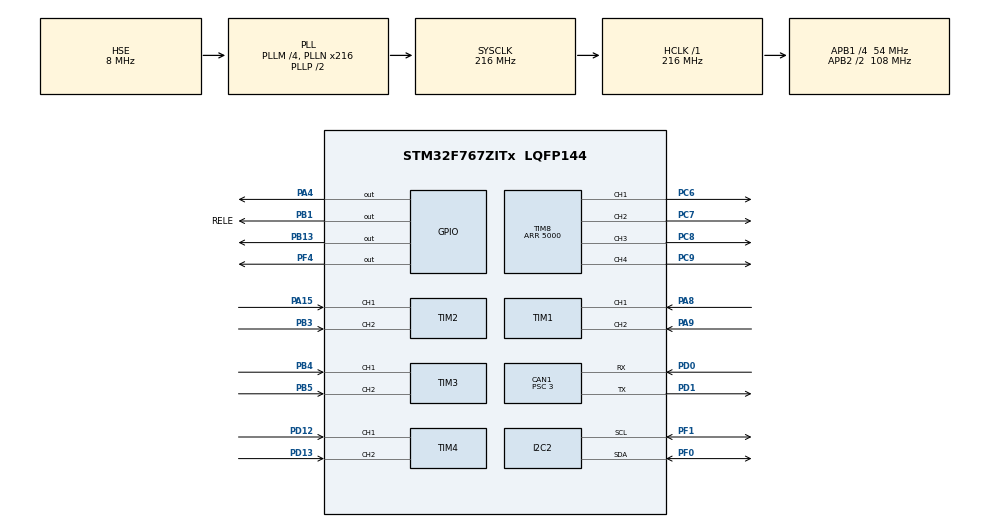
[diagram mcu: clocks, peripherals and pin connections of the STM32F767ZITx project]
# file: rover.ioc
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CAN1.AWUM=ENABLE
CAN1.BS1=CAN_BS1_15TQ
CAN1.BS2=CAN_BS2_2TQ
CAN1.CalculateBaudRate=1000000
CAN1.CalculateTimeBit=1000
CAN1.CalculateTimeQuantum=55.55555555555556
CAN1.NART=ENABLE
CAN1.Prescaler=3
FREERTOS.Tasks01=defaultTask,24,128,StartDefaultTask,Default,NULL,Dynamic,NULL,NULL;MotorControlTas,54,128,startMotorControl,Default,NULL,Static,encoderReadBuffer,encoderReadControlBlock;canTxTask,55,256,StartCanTxTask,Default,NULL,Static,canTxTaskBuffer,canTxTaskControlBlock;MPUCanTxTask,8,128,MPUCanTxFunc,Default,NULL,Static,MPUCanTxTaskBuffer,MPUCanTxTaskControlBlock
FREERTOS.configENABLE_FPU=1
FREERTOS.configUSE_NEWLIB_REENTRANT=1
I2C2.Timing=0x20404768
Mcu.Family=STM32F7
Mcu.Name=STM32F767ZITx
Mcu.Package=LQFP144
NVIC.CAN1_RX0_IRQn=true\:5\:0\:false\:false\:true\:true\:true\:true\:true
NVIC.PriorityGroup=NVIC_PRIORITYGROUP_4
NVIC.TIM8_BRK_TIM12_IRQn=true\:15\:0\:false\:false\:true\:false\:false\:true\:true
NVIC.TimeBase=TIM8_BRK_TIM12_IRQn
NVIC.TimeBaseIP=TIM12
PA15.Signal=S_TIM2_CH1_ETR
PA4.Signal=GPIO_Output
PA8.Signal=S_TIM1_CH1
PA9.Signal=S_TIM1_CH2
PB1.GPIO_Label=RELE
PB1.Signal=GPIO_Output
PB13.Signal=GPIO_Output
PB3.Signal=S_TIM2_CH2
PB4.Signal=S_TIM3_CH1
PB5.Signal=S_TIM3_CH2
PC6.Signal=S_TIM8_CH1
PC7.Signal=S_TIM8_CH2
PC8.Signal=S_TIM8_CH3
PC9.Signal=S_TIM8_CH4
PD0.Mode=CAN_Activate
PD0.Signal=CAN1_RX
PD1.Mode=CAN_Activate
PD1.Signal=CAN1_TX
PD12.Signal=S_TIM4_CH1
PD13.Signal=S_TIM4_CH2
PF0.Mode=I2C
PF0.Signal=I2C2_SDA
PF1.Mode=I2C
PF1.Signal=I2C2_SCL
PF4.Signal=GPIO_Output
PH0/OSC_IN.Mode=HSE-External-Oscillator
PH0/OSC_IN.Signal=RCC_OSC_IN
PH1/OSC_OUT.Mode=HSE-External-Oscillator
PH1/OSC_OUT.Signal=RCC_OSC_OUT
ProjectManager.HeapSize=0x200
ProjectManager.StackSize=0x400
ProjectManager.TargetToolchain=STM32CubeIDE
RCC.48MHZClocksFreq_Value=24000000
RCC.AHBFreq_Value=216000000
RCC.APB1CLKDivider=RCC_HCLK_DIV4
RCC.APB1Freq_Value=54000000
RCC.APB1TimFreq_Value=108000000
RCC.APB2CLKDivider=RCC_HCLK_DIV2
RCC.APB2Freq_Value=108000000
RCC.APB2TimFreq_Value=216000000
RCC.CodegenConfigPeriph=true
RCC.CortexFreq_Value=216000000
RCC.DATA_CACHE_ENABLE=1
RCC.EnbaleCSS=true
RCC.HCLKFreq_Value=216000000
RCC.HSE_VALUE=8000000
RCC.HSI_VALUE=16000000
RCC.INSTRUCTION_CACHE_ENABLE=1
RCC.LSE_Drive_CapabilityArg=+LSE_Drive_Capability
RCC.LSE_VALUE=32768
RCC.PLLM=4
RCC.PLLMUL=RCC_PLL_MUL9
RCC.PLLN=216
RCC.PLLQ=4
RCC.PLLSourceVirtual=RCC_PLLSOURCE_HSE
RCC.PREFETCH_ENABLE=1
RCC.PRESCALERUSB=RCC_USBCLKSOURCE_PLL_DIV1_5
RCC.SYSCLKFreq_VALUE=216000000
RCC.SYSCLKSource=RCC_SYSCLKSOURCE_PLLCLK
RCC.SYSCLKSourceVirtual=RCC_SYSCLKSOURCE_PLLCLK
RCC.USBFreq_Value=108000000
RCC.VCOOutputFreq_Value=432000000
SH.S_TIM1_CH1.0=TIM1_CH1,Encoder_Interface
SH.S_TIM1_CH2.0=TIM1_CH2,Encoder_Interface
SH.S_TIM2_CH1_ETR.0=TIM2_CH1,Encoder_Interface
SH.S_TIM2_CH2.0=TIM2_CH2,Encoder_Interface
SH.S_TIM3_CH1.0=TIM3_CH1,Encoder_Interface
SH.S_TIM3_CH2.0=TIM3_CH2,Encoder_Interface
SH.S_TIM4_CH1.0=TIM4_CH1,Encoder_Interface
SH.S_TIM4_CH2.0=TIM4_CH2,Encoder_Interface
SH.S_TIM8_CH1.0=TIM8_CH1,PWM Generation1 CH1
SH.S_TIM8_CH2.0=TIM8_CH2,PWM Generation2 CH2
SH.S_TIM8_CH3.0=TIM8_CH3,PWM Generation3 CH3
SH.S_TIM8_CH4.0=TIM8_CH4,PWM Generation4 CH4
TIM1.EncoderMode=TIM_ENCODERMODE_TI12
TIM2.EncoderMode=TIM_ENCODERMODE_TI12
TIM3.EncoderMode=TIM_ENCODERMODE_TI12
TIM4.EncoderMode=TIM_ENCODERMODE_TI12
TIM8.Channel-PWM\ Generation1\ CH1=TIM_CHANNEL_1
TIM8.Channel-PWM\ Generation2\ CH2=TIM_CHANNEL_2
TIM8.Channel-PWM\ Generation3\ CH3=TIM_CHANNEL_3
TIM8.Channel-PWM\ Generation4\ CH4=TIM_CHANNEL_4
TIM8.Period=5000
VP_FREERTOS_VS_CMSIS_V2.Mode=CMSIS_V2
VP_SYS_VS_tim12.Mode=TIM12
board=NUCLEO-F767ZI

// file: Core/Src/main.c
/* USER CODE BEGIN Header */
/**
  ******************************************************************************
  * @file           : main.c
  * @brief          : Main program body
  ******************************************************************************
  * @attention
  *
  * Copyright (c) 2025 STMicroelectronics.
  * All rights reserved.
  *
  * This software is licensed under terms that can be found in the LICENSE file
  * in the root directory of this software component.
  * If no LICENSE file comes with this software, it is provided AS-IS.
  *
  ******************************************************************************
  */
/* USER CODE END Header */
#include "main.h"
#include "cmsis_os.h"
#include "can.h"
#include "i2c.h"
#include "tim.h"
#include "gpio.h"

/* USER CODE BEGIN Includes */
#include "rover_firmware.h"
/* USER CODE END Includes */

void SystemClock_Config(void);
void MX_FREERTOS_Init(void);

int main(void)
{

  /* MCU Configuration--------------------------------------------------------*/

  /* Reset of all peripherals, Initializes the Flash interface and the Systick. */
  HAL_Init();

  /* Configure the system clock */
  SystemClock_Config();

  /* Initialize all configured peripherals */
  MX_GPIO_Init();
  MX_TIM2_Init();
  MX_TIM3_Init();
  MX_TIM4_Init();
  MX_TIM8_Init();
  MX_CAN1_Init();
  MX_I2C2_Init();
  MX_TIM1_Init();

  /* Init scheduler */
  osKernelInitialize();

  /* Call init function for freertos objects (in cmsis_os2.c) */
  MX_FREERTOS_Init();

  /* Start scheduler */
  osKernelStart();

  /* We should never get here as control is now taken by the scheduler */

  /* Infinite loop */
  while (1)
  {

  }
}

void SystemClock_Config(void)
{
  RCC_OscInitTypeDef RCC_OscInitStruct = {0};
  RCC_ClkInitTypeDef RCC_ClkInitStruct = {0};

  /** Configure the main internal regulator output voltage
  */
  __HAL_RCC_PWR_CLK_ENABLE();
  __HAL_PWR_VOLTAGESCALING_CONFIG(PWR_REGULATOR_VOLTAGE_SCALE1);

  /** Initializes the RCC Oscillators according to the specified parameters
  * in the RCC_OscInitTypeDef structure.
  */
  RCC_OscInitStruct.OscillatorType = RCC_OSCILLATORTYPE_HSE;
  RCC_OscInitStruct.HSEState = RCC_HSE_ON;
  RCC_OscInitStruct.PLL.PLLState = RCC_PLL_ON;
  RCC_OscInitStruct.PLL.PLLSource = RCC_PLLSOURCE_HSE;
  RCC_OscInitStruct.PLL.PLLM = 4;
  RCC_OscInitStruct.PLL.PLLN = 216;
  RCC_OscInitStruct.PLL.PLLP = RCC_PLLP_DIV2;
  RCC_OscInitStruct.PLL.PLLQ = 4;
  RCC_OscInitStruct.PLL.PLLR = 2;
  if (HAL_RCC_OscConfig(&RCC_OscInitStruct) != HAL_OK)
  {
    Error_Handler();
  }

  /** Activate the Over-Drive mode
  */
  if (HAL_PWREx_EnableOverDrive() != HAL_OK)
  {
    Error_Handler();
  }

  /** Initializes the CPU, AHB and APB buses clocks
  */
  RCC_ClkInitStruct.ClockType = RCC_CLOCKTYPE_HCLK|RCC_CLOCKTYPE_SYSCLK
                              |RCC_CLOCKTYPE_PCLK1|RCC_CLOCKTYPE_PCLK2;
  RCC_ClkInitStruct.SYSCLKSource = RCC_SYSCLKSOURCE_PLLCLK;
  RCC_ClkInitStruct.AHBCLKDivider = RCC_SYSCLK_DIV1;
  RCC_ClkInitStruct.APB1CLKDivider = RCC_HCLK_DIV4;
  RCC_ClkInitStruct.APB2CLKDivider = RCC_HCLK_DIV2;

  if (HAL_RCC_ClockConfig(&RCC_ClkInitStruct, FLASH_LATENCY_7) != HAL_OK)
  {
    Error_Handler();
  }

  /** Enables the Clock Security System
  */
  HAL_RCC_EnableCSS();
}

void HAL_TIM_PeriodElapsedCallback(TIM_HandleTypeDef *htim)
{
  if (htim->Instance == TIM12) {
    HAL_IncTick();
  }
}

void Error_Handler(void)
{
  /* USER CODE BEGIN Error_Handler_Debug */
  /* User can add his own implementation to report the HAL error return state */
  __disable_irq();
  stop_all_motors();
  while (1)
  {
  }
  /* USER CODE END Error_Handler_Debug */
}

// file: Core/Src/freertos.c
/* USER CODE BEGIN Header */
/**
  ******************************************************************************
  * File Name          : freertos.c
  * Description        : Code for freertos applications
  ******************************************************************************
  * @attention
  *
  * Copyright (c) 2025 STMicroelectronics.
  * All rights reserved.
  *
  * This software is licensed under terms that can be found in the LICENSE file
  * in the root directory of this software component.
  * If no LICENSE file comes with this software, it is provided AS-IS.
  *
  ******************************************************************************
  */
/* USER CODE END Header */

#include "FreeRTOS.h"
#include "task.h"
#include "main.h"
#include "cmsis_os.h"

/* USER CODE BEGIN Includes */
#include "encoder.h"
#include <stdio.h>
#include <string.h>
#include <stdbool.h>
#include "rover_firmware.h"
#include "test_comunication.h"
#include "canParser.h"
/* USER CODE END Includes */

typedef StaticTask_t osStaticThreadDef_t;

/* Definitions for defaultTask */
osThreadId_t defaultTaskHandle;
const osThreadAttr_t defaultTask_attributes = {
  .name = "defaultTask",
  .stack_size = 128 * 4,
  .priority = (osPriority_t) osPriorityNormal,
};
/* Definitions for MotorControlTas */
osThreadId_t MotorControlTasHandle;
uint32_t encoderReadBuffer[ 128 ];
osStaticThreadDef_t encoderReadControlBlock;
const osThreadAttr_t MotorControlTas_attributes = {
  .name = "MotorControlTas",
  .cb_mem = &encoderReadControlBlock,
  .cb_size = sizeof(encoderReadControlBlock),
  .stack_mem = &encoderReadBuffer[0],
  .stack_size = sizeof(encoderReadBuffer),
  .priority = (osPriority_t) osPriorityRealtime6,
};
/* Definitions for canTxTask */
osThreadId_t canTxTaskHandle;
uint32_t canTxTaskBuffer[ 256 ];
osStaticThreadDef_t canTxTaskControlBlock;
const osThreadAttr_t canTxTask_attributes = {
  .name = "canTxTask",
  .cb_mem = &canTxTaskControlBlock,
  .cb_size = sizeof(canTxTaskControlBlock),
  .stack_mem = &canTxTaskBuffer[0],
  .stack_size = sizeof(canTxTaskBuffer),
  .priority = (osPriority_t) osPriorityRealtime7,
};
/* Definitions for MPUCanTxTask */
osThreadId_t MPUCanTxTaskHandle;
uint32_t MPUCanTxTaskBuffer[ 128 ];
osStaticThreadDef_t MPUCanTxTaskControlBlock;
const osThreadAttr_t MPUCanTxTask_attributes = {
  .name = "MPUCanTxTask",
  .cb_mem = &MPUCanTxTaskControlBlock,
  .cb_size = sizeof(MPUCanTxTaskControlBlock),
  .stack_mem = &MPUCanTxTaskBuffer[0],
  .stack_size = sizeof(MPUCanTxTaskBuffer),
  .priority = (osPriority_t) osPriorityLow,
};

/* USER CODE BEGIN FunctionPrototypes */
void HAL_CAN_RxFifo0MsgPendingCallback(CAN_HandleTypeDef *hcan) {

	HAL_GPIO_WritePin(GPIOF, GPIO_PIN_4, GPIO_PIN_SET);

    rover_t* const rover = rover_get_instance();

    HAL_CAN_GetRxMessage(hcan, rover->can_config.rx_fifo, &rover->can_manager.config->rx_header, rover->can_manager.rx_data);

    if (rover->can_manager.config->rx_header.StdId == RPM_REFERENCE_MSG_ID && rover->can_manager.config->rx_header.DLC == RPM_REFERENCE_FRAME_LENGTH) {
    	uint8_t* data = rover->can_manager.rx_data;
    	int16_t fl_rpm, rl_rpm, fr_rpm, rr_rpm;

        if (CanParser_decode_can_frame(data, &fl_rpm ,  0, 16, 1, sizeof(int16_t)) == CAN_PARSER_STATUS_OK &&
            CanParser_decode_can_frame(data, &rl_rpm, 16, 16, 1, sizeof(int16_t)) == CAN_PARSER_STATUS_OK &&
            CanParser_decode_can_frame(data, &fr_rpm , 32, 16, 1, sizeof(int16_t)) == CAN_PARSER_STATUS_OK &&
            CanParser_decode_can_frame(data, &rr_rpm, 48, 16, 1, sizeof(int16_t)) == CAN_PARSER_STATUS_OK) {

        	rover->reference_fl_rpm = saturate_rpm(fl_rpm);
        	rover->reference_rl_rpm = saturate_rpm(rl_rpm);
        	rover->reference_fr_rpm = saturate_rpm(fr_rpm);
        	rover->reference_rr_rpm = saturate_rpm(rr_rpm);

            rover->can_manager.message_received = CAN_MANAGER_RECEIVED_NEW_MESSAGE;
        }
    }

    HAL_GPIO_WritePin(GPIOF, GPIO_PIN_4, GPIO_PIN_RESET);
}

/* USER CODE END FunctionPrototypes */

void StartDefaultTask(void *argument);
void startMotorControl(void *argument);
void StartCanTxTask(void *argument);
void MPUCanTxFunc(void *argument);

void MX_FREERTOS_Init(void); /* (MISRA C 2004 rule 8.1) */

void MX_FREERTOS_Init(void) {
  /* USER CODE BEGIN Init */
	if(rover_init() != ROVER_OK ){
		Error_Handler();
	}
  /* USER CODE END Init */

  /* Create the thread(s) */
  /* creation of defaultTask */
  defaultTaskHandle = osThreadNew(StartDefaultTask, NULL, &defaultTask_attributes);

  /* creation of MotorControlTas */
  MotorControlTasHandle = osThreadNew(startMotorControl, NULL, &MotorControlTas_attributes);

  /* creation of canTxTask */
  canTxTaskHandle = osThreadNew(StartCanTxTask, NULL, &canTxTask_attributes);

  /* creation of MPUCanTxTask */
  MPUCanTxTaskHandle = osThreadNew(MPUCanTxFunc, NULL, &MPUCanTxTask_attributes);

}

void StartDefaultTask(void *argument)
{
  for(;;)
  {
    osDelay(1);
  }
}

void startMotorControl(void *argument)
{
  /* USER CODE BEGIN startMotorControl */
	TickType_t xLastWakeTime;
	const TickType_t xFrequency = pdMS_TO_TICKS(ENCODER_SAMPLING_TIME * 1000);
	xLastWakeTime = xTaskGetTickCount();
	/* Infinite loop */
	for(;;)
	{
		vTaskDelayUntil( &xLastWakeTime, xFrequency );
		//HAL_GPIO_WritePin(GPIOF, GPIO_PIN_4, GPIO_PIN_SET);
		if( rover_enc_can_tx_step()!= ROVER_OK){
			Error_Handler();
		}

		//HAL_GPIO_WritePin(GPIOF, GPIO_PIN_4, GPIO_PIN_RESET);
	}
  /* USER CODE END startMotorControl */
}

void StartCanTxTask(void *argument)
{
  /* USER CODE BEGIN StartCanTxTask */
	TickType_t xLastWakeTime;
	const TickType_t xFrequency = pdMS_TO_TICKS(CAN_TX_PERIOD_MS);
	xLastWakeTime = xTaskGetTickCount();
	for (;;) {
		vTaskDelayUntil(&xLastWakeTime, xFrequency);
		HAL_GPIO_WritePin(GPIOB, GPIO_PIN_13, GPIO_PIN_SET);
		if (rover_can_tx_step() != ROVER_OK) {
			Error_Handler();
		}
		HAL_GPIO_WritePin(GPIOB, GPIO_PIN_13, GPIO_PIN_RESET);
	}
  /* USER CODE END StartCanTxTask */
}

void MPUCanTxFunc(void *argument)
{
  /* USER CODE BEGIN MPUCanTxFunc */
	TickType_t xLastWakeTime;
	const TickType_t xFrequency = pdMS_TO_TICKS(MPU_CAN_TX_PERIOD_MS );
	xLastWakeTime = xTaskGetTickCount();
	for (;;){
		vTaskDelayUntil(&xLastWakeTime, xFrequency);
		HAL_GPIO_WritePin(GPIOA, GPIO_PIN_4, GPIO_PIN_SET);
		if (rover_imu_can_tx_step()!= ROVER_OK) {
			Error_Handler();
		}
		HAL_GPIO_WritePin(GPIOA, GPIO_PIN_4, GPIO_PIN_RESET);
	}
  /* USER CODE END MPUCanTxFunc */
}
